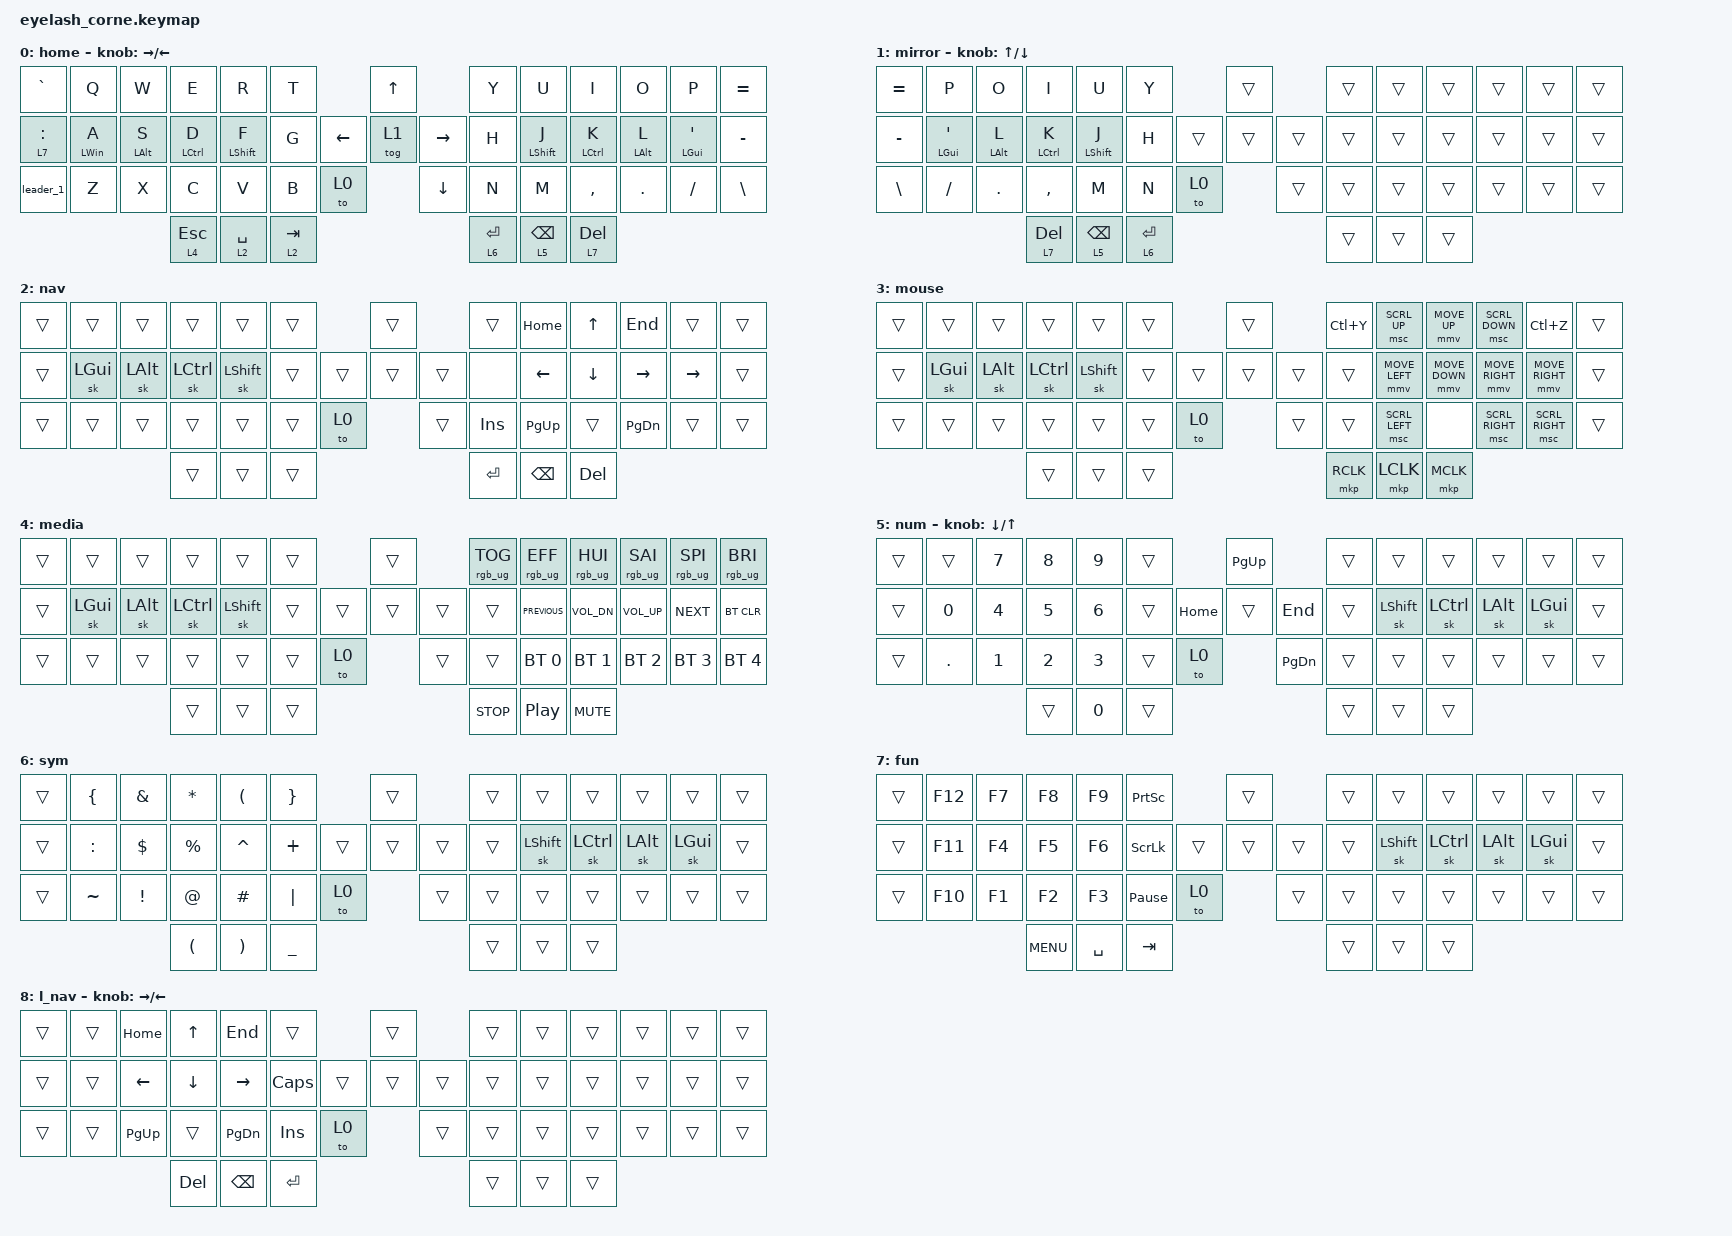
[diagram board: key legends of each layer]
#define ZMK_POINTING_DEFAULT_MOVE_VAL 1200  // 600
#define ZMK_POINTING_DEFAULT_SCRL_VAL 25   // 10

#include <input/processors.dtsi>
#include <zephyr/dt-bindings/input/input-event-codes.h>
#include <behaviors.dtsi>
#include <dt-bindings/zmk/bt.h>
#include <dt-bindings/zmk/keys.h>
#include <dt-bindings/zmk/pointing.h>
#include <dt-bindings/zmk/rgb.h>

&mmv_input_listener { input-processors = <&zip_xy_scaler 2 1>; };

&msc_input_listener { input-processors = <&zip_scroll_scaler 2 1>; };

&msc {
    acceleration-exponent = <1>;      // 0
    time-to-max-speed-ms = <100>;       // 300
    delay-ms = <0>;                   // 0
};

&mmv {
    time-to-max-speed-ms = <500>;
    acceleration-exponent = <1>;
    trigger-period-ms = <16>;
};

&lt { quick-tap-ms = <150>; };

&mt {
    flavor = "tap-preferred";
    require-prior-idle-ms = <125>;
};

&sk { lazy; };

/ {
    behaviors {
        toggle_mod_off: toggle_mod_off {
            compatible = "zmk,behavior-key-toggle";
            #binding-cells = <1>;
            display-name = "Key Toggle Off";
            toggle-mode = "off";
        };

        hml: homerow_mods_left {
            compatible = "zmk,behavior-hold-tap";
            bindings = <&kp>, <&kp>;

            #binding-cells = <2>;
            tapping-term-ms = <150>;
            require-prior-idle-ms = <105>;
            flavor = "balanced";
            hold-trigger-key-positions = <23 24 25 26 7 22 36 45 46 47 37 38 39 40 41 8 9 10 11 12 23 24 25 26 27 42 43 44>;
            hold-trigger-on-release;
            quick-tap-ms = <175>;
            label = "homerow mods left from urob";
        };

        hmr: homerow_mods_right {
            compatible = "zmk,behavior-hold-tap";
            bindings = <&kp>, <&kp>;

            #binding-cells = <2>;
            tapping-term-ms = <150>;
            require-prior-idle-ms = <105>;
            flavor = "balanced";
            hold-trigger-on-release;
            quick-tap-ms = <175>;
            label = "homerow mods right from urob";
            hold-trigger-key-positions = <47 46 45 44 43 42 33 0 1 2 3 4 5 13 14 15 16 17 18 28 29 30 31 32 33 42 43 44>;
        };

        FUN_COLON_SEMI: FUN_COLON_SEMI {
            compatible = "zmk,behavior-hold-tap";
            label = "FUN_COLON_SEMI";
            bindings = <&mo>, <&kp>;

            #binding-cells = <2>;
            tapping-term-ms = <200>;
        };

        leader_1: leader_1 {
            compatible = "zmk,behavior-leader-key";
            #binding-cells = <0>;

            ctl-prs {
                sequence = <E R>;
                bindings = <&kp LC(PRINTSCREEN)>;
            };

            prs {
                sequence = <F E>;
                bindings = <&kp PRINTSCREEN>;
            };

            nav {
                sequence = <SPACE>;
                bindings = <&to 9>;
            };

            med {
                sequence = <TAB>;
                bindings = <&to 4>;
            };

            cap {
                sequence = <COLON>;
                bindings = <&caps_word>;
            };

            win {
                sequence = <A>;
                bindings = <&kt LWIN>;
            };

            alt {
                sequence = <S>;
                bindings = <&kt LALT>;
            };

            ctl {
                sequence = <D>;
                bindings = <&kt LCTRL>;
            };

            sft {
                sequence = <F>;
                bindings = <&kt LSHFT>;
            };
        };
    };

    rgb_encoder: rgb_encoder {
        compatible = "zmk,behavior-sensor-rotate";
        #sensor-binding-cells = <0>;
        bindings = <&rgb_ug RGB_BRI>, <&rgb_ug RGB_BRD>;
    };

    scroll_encoder: scroll_encoder {
        compatible = "zmk,behavior-sensor-rotate";
        #sensor-binding-cells = <0>;
        bindings = <&msc SCRL_DOWN>, <&msc SCRL_UP>;

        tap-ms = <30>;
    };

    combos {
        compatible = "zmk,combos";

        lb {
            bindings = <&kp LEFT_BRACKET>;
            key-positions = <3 2>;
        };

        rb {
            bindings = <&kp RIGHT_BRACKET>;
            key-positions = <9 10>;
        };

        bootloader {
            bindings = <&bootloader>;
            key-positions = <0 28>;
        };

        reset {
            bindings = <&sys_reset>;
            key-positions = <13 28>;
        };

        enter {
            bindings = <&kp ENTER>;
            key-positions = <17 32>;
        };

        bksp {
            bindings = <&kp BACKSPACE>;
            key-positions = <16 32>;
        };

        del {
            bindings = <&kp DEL>;
            key-positions = <16 30>;
        };

        lock_lnav {
            bindings = <&tog 8>;
            key-positions = <30 16 32>;
            layers = <2 8 0 1>;
        };

        tog_num {
            bindings = <&tog 5>;
            key-positions = <15 3 17>;
            timeout-ms = <25>;
            require-prior-idle-ms = <10>;
            layers = <5 0 1>;
        };

        tog_sym {
            bindings = <&tog 6>;
            key-positions = <2 16 4>;
            timeout-ms = <25>;
            require-prior-idle-ms = <10>;
            layers = <6 0 1>;
        };

        lock_mou {
            bindings = <&tog 3>;
            key-positions = <15 31 17>;
            layers = <0 1 3>;
        };

        n1 {
            bindings = <&kp N1>;
            key-positions = <16 17>;
            timeout-ms = <20>;
            layers = <0>;
        };

        n2 {
            bindings = <&kp N2>;
            key-positions = <24 23>;
            timeout-ms = <20>;
            layers = <0>;
        };

        n3 {
            bindings = <&kp N3>;
            key-positions = <16 15>;
            timeout-ms = <20>;
            layers = <0>;
        };

        n4 {
            bindings = <&kp N4>;
            key-positions = <25 24>;
            timeout-ms = <20>;
        };

        n5 {
            bindings = <&kp N5>;
            key-positions = <15 14>;
            timeout-ms = <20>;
        };

        n6 {
            bindings = <&kp N6>;
            key-positions = <26 25>;
            timeout-ms = <20>;
        };

        n7 {
            bindings = <&kp N7>;
            key-positions = <32 31>;
            timeout-ms = <20>;
        };

        n8 {
            bindings = <&kp N8>;
            key-positions = <37 38>;
            timeout-ms = <20>;
        };

        n9 {
            bindings = <&kp N9>;
            key-positions = <31 30>;
            timeout-ms = <20>;
        };

        n0 {
            bindings = <&kp N0>;
            key-positions = <38 39>;
            timeout-ms = <20>;
        };

        caps {
            bindings = <&kp CAPSLOCK>;
            key-positions = <17 23>;
        };

        colon {
            bindings = <&kp SEMICOLON>;
            key-positions = <23 37>;
        };
    };

    keymap {
        compatible = "zmk,keymap";

        home {
            display-name = "home";
            bindings = <
&kp GRAVE                &kp Q        &kp W        &kp E         &kp R         &kp T                         &kp UP_ARROW             &kp Y        &kp U            &kp I         &kp O        &kp P          &kp EQUAL
&FUN_COLON_SEMI 7 COLON  &hml LWIN A  &hml LALT S  &hml LCTRL D  &hml LSHFT F  &kp G               &kp LEFT  &tog 1        &kp RIGHT  &kp H        &hmr LSHFT J     &hmr LCTRL K  &hmr LALT L  &hmr LGUI SQT  &kp MINUS
&leader_1                &kp Z        &kp X        &kp C         &kp V         &kp B      &to 0              &kp DOWN                 &kp N        &kp M            &kp COMMA     &kp DOT      &kp FSLH       &kp BACKSLASH
                                                   &lt 4 ESCAPE  &lt 2 SPACE   &lt 2 TAB                                              &lt 6 ENTER  &lt 5 BACKSPACE  &lt 7 DELETE
            >;

            sensor-bindings = <&inc_dec_kp RIGHT LEFT>;
        };

        mir {
            bindings = <
&kp EQUAL  &kp P         &kp O       &kp I         &kp U            &kp Y                         &trans          &trans  &trans  &trans  &trans  &trans  &trans
&kp MINUS  &mt LGUI SQT  &mt LALT L  &mt LCTRL K   &mt LSHFT J      &kp H                 &trans  &trans  &trans  &trans  &trans  &trans  &trans  &trans  &trans
&kp BSLH   &kp FSLH      &kp DOT     &kp COMMA     &kp M            &kp N        &to 0            &trans          &trans  &trans  &trans  &trans  &trans  &trans
                                     &lt 7 DELETE  &lt 5 BACKSPACE  &lt 6 ENTER                                   &trans  &trans  &trans
            >;

            label = "mirror";
            sensor-bindings = <&inc_dec_kp UP_ARROW DOWN>;
        };

        nav {
            bindings = <
&trans  &trans    &trans    &trans     &trans     &trans                   &trans          &trans      &kp HOME       &kp UP_ARROW  &kp END        &trans     &trans
&trans  &sk LGUI  &sk LALT  &sk LCTRL  &sk LSHFT  &trans           &trans  &trans  &trans  &none       &kp LEFT       &kp DOWN      &kp RIGHT      &kp RIGHT  &trans
&trans  &trans    &trans    &trans     &trans     &trans  &to 0            &trans          &kp INSERT  &kp PAGE_UP    &trans        &kp PAGE_DOWN  &trans     &trans
                            &trans     &trans     &trans                                   &kp ENTER   &kp BACKSPACE  &kp DELETE
            >;

            label = "nav";
        };

        mou {
            bindings = <
&trans  &trans    &trans    &trans     &trans     &trans                   &trans          &kp LC(Y)  &msc SCRL_UP    &mmv MOVE_UP    &msc SCRL_DOWN   &kp LC(Z)        &trans
&trans  &sk LGUI  &sk LALT  &sk LCTRL  &sk LSHFT  &trans           &trans  &trans  &trans  &trans     &mmv MOVE_LEFT  &mmv MOVE_DOWN  &mmv MOVE_RIGHT  &mmv MOVE_RIGHT  &trans
&trans  &trans    &trans    &trans     &trans     &trans  &to 0            &trans          &trans     &msc SCRL_LEFT  &none           &msc SCRL_RIGHT  &msc SCRL_RIGHT  &trans
                            &trans     &trans     &trans                                   &mkp RCLK  &mkp LCLK       &mkp MCLK
            >;

            label = "mouse";
        };

        med {
            bindings = <
&trans  &trans    &trans    &trans     &trans     &trans                   &trans          &rgb_ug RGB_TOG  &rgb_ug RGB_EFF   &rgb_ug RGB_HUI  &rgb_ug RGB_SAI  &rgb_ug RGB_SPI  &rgb_ug RGB_BRI
&trans  &sk LGUI  &sk LALT  &sk LCTRL  &sk LSHFT  &trans           &trans  &trans  &trans  &trans           &kp C_PREVIOUS    &kp C_VOL_DN     &kp C_VOL_UP     &kp C_NEXT       &bt BT_CLR
&trans  &trans    &trans    &trans     &trans     &trans  &to 0            &trans          &trans           &bt BT_SEL 0      &bt BT_SEL 1     &bt BT_SEL 2     &bt BT_SEL 3     &bt BT_SEL 4
                            &trans     &trans     &trans                                   &kp C_STOP       &kp C_PLAY_PAUSE  &kp C_MUTE
            >;

            label = "media";
        };

        num {
            bindings = <
&trans  &trans   &kp N7  &kp N8  &kp N9  &trans                     &kp PAGE_UP             &trans  &trans     &trans     &trans    &trans    &trans
&trans  &kp N0   &kp N4  &kp N5  &kp N6  &trans           &kp HOME  &trans         &kp END  &trans  &sk LSHFT  &sk LCTRL  &sk LALT  &sk LGUI  &trans
&trans  &kp DOT  &kp N1  &kp N2  &kp N3  &trans  &to 0              &kp PAGE_DOWN           &trans  &trans     &trans     &trans    &trans    &trans
                         &trans  &kp N0  &trans                                             &trans  &trans     &trans
            >;

            label = "num";
            sensor-bindings = <&inc_dec_kp DOWN UP_ARROW>;
        };

        sym {
            bindings = <
&trans  &kp LEFT_BRACE  &kp AMPERSAND    &kp ASTERISK          &kp LEFT_PARENTHESIS   &kp RIGHT_BRACE                   &trans          &trans  &trans     &trans     &trans    &trans    &trans
&trans  &kp COLON       &kp DOLLAR       &kp PERCENT           &kp CARET              &kp PLUS                  &trans  &trans  &trans  &trans  &sk LSHFT  &sk LCTRL  &sk LALT  &sk LGUI  &trans
&trans  &kp TILDE       &kp EXCLAMATION  &kp AT_SIGN           &kp HASH               &kp PIPE         &to 0            &trans          &trans  &trans     &trans     &trans    &trans    &trans
                                         &kp LEFT_PARENTHESIS  &kp RIGHT_PARENTHESIS  &kp UNDERSCORE                                    &trans  &trans     &trans
            >;

            label = "sym";
        };

        fun {
            bindings = <
&trans  &kp F12  &kp F7  &kp F8      &kp F9     &kp PSCRN                         &trans          &trans  &trans     &trans     &trans    &trans    &trans
&trans  &kp F11  &kp F4  &kp F5      &kp F6     &kp SCROLLLOCK            &trans  &trans  &trans  &trans  &sk LSHFT  &sk LCTRL  &sk LALT  &sk LGUI  &trans
&trans  &kp F10  &kp F1  &kp F2      &kp F3     &kp PAUSE_BREAK  &to 0            &trans          &trans  &trans     &trans     &trans    &trans    &trans
                         &kp C_MENU  &kp SPACE  &kp TAB                                           &trans  &trans     &trans
            >;

            label = "fun";
        };

        lnav {
            bindings = <
&trans  &trans  &kp HOME   &kp UP      &kp END    &trans                      &trans          &trans  &trans  &trans  &trans  &trans  &trans
&trans  &trans  &kp LEFT   &kp DOWN    &kp RIGHT  &kp CAPS            &trans  &trans  &trans  &trans  &trans  &trans  &trans  &trans  &trans
&trans  &trans  &kp PG_UP  &trans      &kp PG_DN  &kp INS    &to 0            &trans          &trans  &trans  &trans  &trans  &trans  &trans
                           &kp DELETE  &kp BSPC   &kp ENTER                                   &trans  &trans  &trans
            >;

            label = "l_nav";
            sensor-bindings = <&inc_dec_kp RIGHT LEFT>;
        };
    };

    conditional_layers { compatible = "zmk,conditional-layers"; };
};
